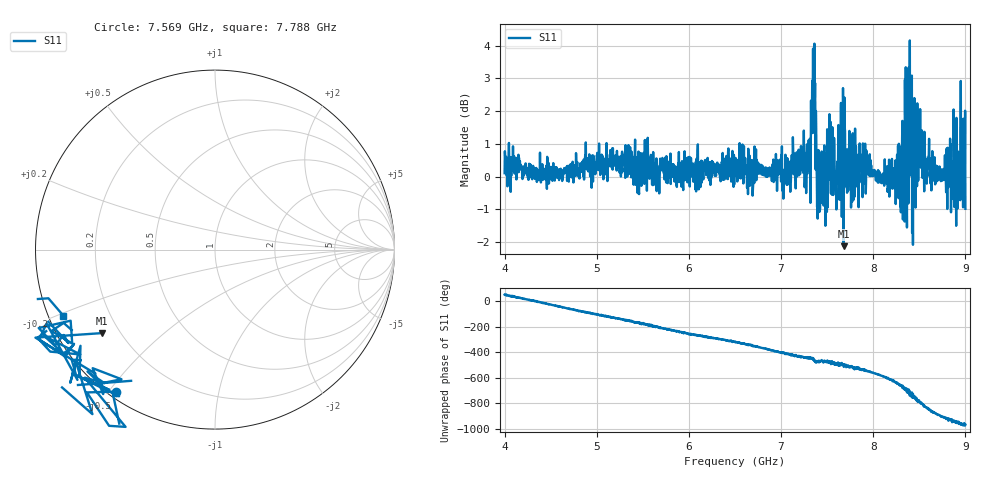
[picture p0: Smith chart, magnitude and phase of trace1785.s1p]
! Created with skrf 1.8.0 (http://scikit-rf.org).
# Hz S RI R 50.0
!freq ReS11 ImS11
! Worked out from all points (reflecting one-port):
!   1601 points, 4 GHz to 9 GHz, reference 50 ohm
!   lowest |S11| = -2.1 dB at 7.678 GHz (marker M1), VSWR 8.20, Z = 6.75 - j16.2 ohm
!   phase of S11 starts at 53 deg and turns -1020 deg over the sweep
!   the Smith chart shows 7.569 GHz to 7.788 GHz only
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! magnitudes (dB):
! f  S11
! 4 GHz  0.1
! 4.625 GHz  -0.1
! 5.25 GHz  0.1
! 5.875 GHz  0.1
! 6.5 GHz  0.4
! 7.125 GHz  0.2
! 7.297 GHz  0.6
! 7.347 GHz  3.9
! 7.362 GHz  4.1
! 7.409 GHz  -0.9
! 7.512 GHz  0.7
! 7.591 GHz  -0.1
! 7.647 GHz  1.2
! 7.678 GHz  -2.1
! 7.75 GHz  -0.3
! 8.316 GHz  1.7
! 8.334 GHz  0.4
! 8.347 GHz  1.0
! 8.375 GHz  0.5
! 8.394 GHz  1.4
! 8.406 GHz  0.2
! 8.447 GHz  2.4
! 8.459 GHz  -0.9
! 8.503 GHz  0.8
! 8.638 GHz  0.3
! 8.919 GHz  -0.4
! 8.972 GHz  0.7
! 9 GHz  -1.0
